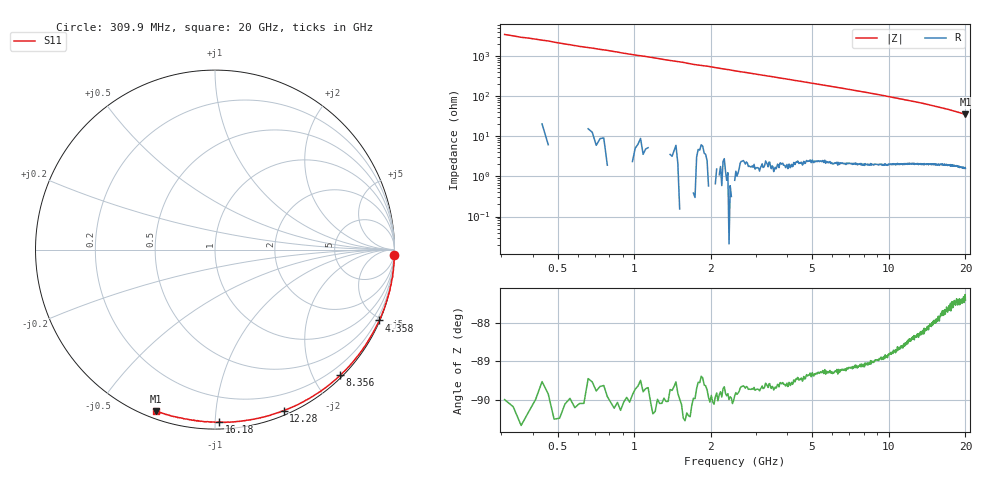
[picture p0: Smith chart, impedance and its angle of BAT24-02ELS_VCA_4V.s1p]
! Infineon Technologies  Discrete & RF Semiconductors
! BAT24-02ELS
! VCA = 4 V
! One-Port S-Parameters
# Hz  S  MA  R  50
!f  S11
!Hz  Mag  Ang
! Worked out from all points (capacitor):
!   789 points, 309.9 MHz to 20 GHz, reference 50 ohm
!   read as one part to ground: C = 149 fF near 384.8 MHz
!   lowest |Z| = 35 ohm at 20 GHz (marker M1)
!   S11 on the Smith chart (normalised r, x): 309.9 MHz: -0, -69; 4.358 GHz: 0.04, -4.84; 8.356 GHz: 0.04, -2.41; 12.28 GHz: 0.04, -1.51; 16.18 GHz: 0.04, -1.02; 20 GHz: 0.03, -0.70
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3.0985e8  1 -1.7
3.848125e8  1 -2.1
1.584212e9  1.001 -8.5
1.734138e9  0.9999 -9.4
2.383812e9  0.9997 -12.8
2.783612e9  0.9986 -14.9
3.533238e9  0.9986 -18.9
4.357825e9  0.9964 -23.4
5.232388e9  0.9945 -28.1
6.4068e9  0.9931 -34.4
7.70615e9  0.9896 -41.6
8.355825e9  0.9885 -45.1
9.30535e9  0.9856 -50.4
1.015492e10  0.9829 -55.1
1.130435e10  0.9788 -61.5
1.227886e10  0.975 -66.9
1.262869e10  0.9737 -68.8
1.377811e10  0.9692 -75.3
1.437781e10  0.9679 -78.6
1.507746e10  0.9658 -82.6
1.577711e10  0.9644 -86.5
1.617691e10  0.9616 -88.7
1.702649e10  0.9612 -93.4
1.755122e10  0.9589 -96.3
1.825088e10  0.9579 -100.2
1.905048e10  0.9587 -104.7
1.967516e10  0.9567 -108.2
2e10  0.9586 -110.1
